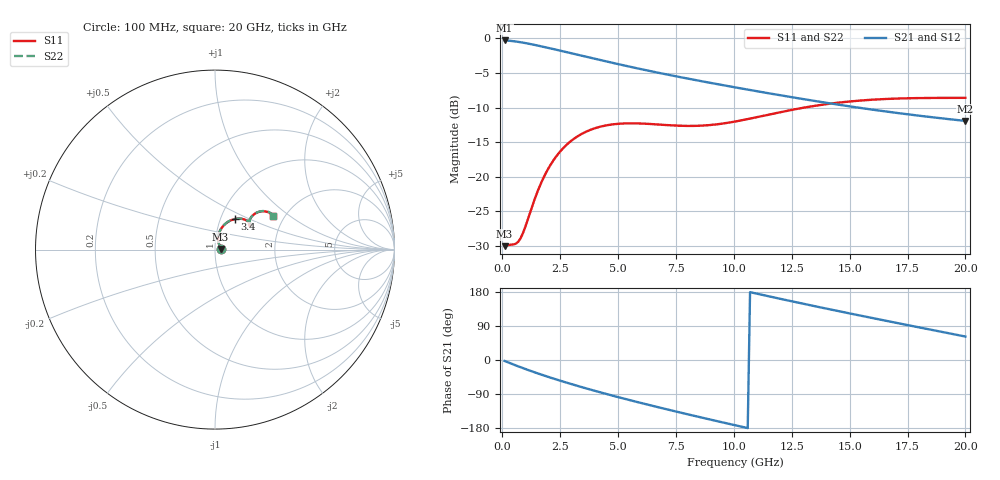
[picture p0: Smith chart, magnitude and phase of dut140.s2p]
! Touchstone file exported from HFSS 2023.1.0
!  File:  D:/Users/fzz/RDL_TSV/temp_RDL_TSV_140_1778751934.aedt
!  Generated:  5:57:32 %x4E0B%x5348  5%x6708 14, 2026
!  Design:  RDL_TSV
!  Project:  temp_RDL_TSV_140_1778751934
!  Setup:  Setup1
!  Solution:  Sweep
! Variables:
!  dtsv = 19.5um
!  hbump = 3um
!  htsv = 56.13um
!  ldown = 558.04um
!  lrdl = 629.58um
!  p = 40
!  p1 = 45.11um
!  rhole = 10um
!  subl = 4192.44um
!  t = 450um
!  tdown = 4.93um
!  trdl = 2.51um
!  viad = 10um
!  wdown = 15.35um
!  wrdl = 14.39um
!  xbump = 18um
# GHz S MA R 50.000000
! Terminal data exported
! Port[1] = TM1_1_T1
! Port[2] = TM1_4_T1
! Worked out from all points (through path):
!   200 points, 100 MHz to 20 GHz, reference 50 ohm
!   highest |S21| = -0.28 dB at 100 MHz (marker M1); lowest = -11.9 dB at 20 GHz (marker M2)
!   group delay of S21, straight-line fit = 39.7 ps
!   lowest |S11| = -30.0 dB at 100 MHz (marker M3), VSWR 1.07, Z = 53.2 + j0.346 ohm
!   |S11| at or under -10 dB: start of sweep to 13.01 GHz
!   |S22| runs from -30.0 to -8.5 dB; largest |S21 - S12| = 5.5e-14
!   S11 on the Smith chart (normalised r, x): 100 MHz: 1.06, +0.01; 3.4 GHz: 1.17, +0.42; 20 GHz: 1.73, +0.76
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0.1  0.03158 5.9  0.9679 -2.5  0.9679 -2.5  0.03158 5.9
! Gamma 0 0 0 0
! Port Impedance 50 0 50 0
0.6  0.03302 35.0  0.9504 -14.7  0.9504 -14.7  0.03299 35.0
0.8  0.03631 50.2  0.9394 -19.3  0.9394 -19.3  0.03628 50.2
1.2  0.05523 71.1  0.9131 -28.3  0.9131 -28.3  0.05525 71.3
1.7  0.09221 76.2  0.8765 -38.8  0.8765 -38.8  0.09233 76.3
2.1  0.1235 73.3  0.8467 -46.9  0.8467 -46.9  0.1238 73.5
2.5  0.1526 68.5  0.8171 -54.6  0.8171 -54.6  0.1529 68.7
3.4  0.2033 56.8  0.7534 -71.0  0.7534 -71.0  0.2038 57.0
3.5  0.2075 55.6  0.7466 -72.8  0.7466 -72.8  0.2081 55.8
4.2  0.2298 47.8  0.7009 -84.8  0.7009 -84.8  0.2306 47.9
5.1  0.2425 40.0  0.6475 -99.5  0.6475 -99.5  0.2435 40.1
5.9  0.2434 35.5  0.6052 -112.0  0.6052 -112.0  0.2444 35.6
6.8  0.2387 33.2  0.5628 -125.6  0.5628 -125.6  0.2399 33.3
7.6  0.2344 33.4  0.5291 -137.4  0.5291 -137.4  0.2357 33.5
8.4  0.2339 35.2  0.4987 -149.0  0.4987 -149.0  0.2352 35.3
10.1  0.252 40.3  0.4421 -172.8  0.4421 -172.8  0.2534 40.4
11.8  0.2888 42.2  0.3942 164.2  0.3942 164.2  0.2903 42.2
13.4  0.3242 40.5  0.3557 143.2  0.3557 143.2  0.326 40.6
15  0.3507 37.4  0.3233 122.9  0.3233 122.9  0.3528 37.4
16.7  0.3664 34.0  0.2949 101.9  0.2949 101.9  0.3687 34.0
18.3  0.3717 31.6  0.273 82.4  0.273 82.4  0.3742 31.6
20  0.3725 30.5  0.2538 61.9  0.2538 61.9  0.3751 30.4
